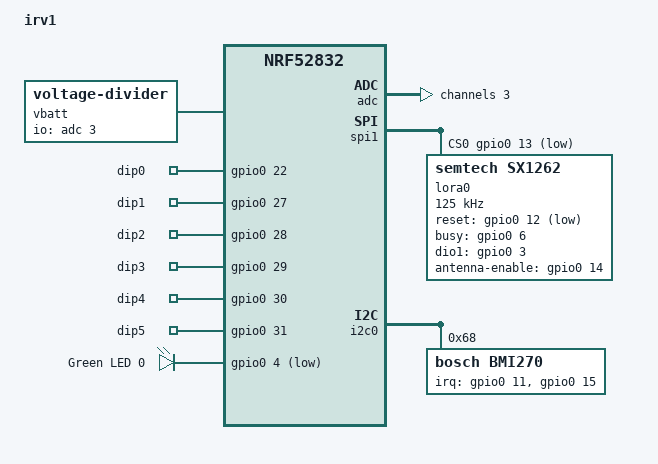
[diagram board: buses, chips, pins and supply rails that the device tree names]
// Copyright (c) 2023 Nordic Semiconductor ASA
// SPDX-License-Identifier: Apache-2.0

/dts-v1/;
#include <nordic/nrf52832_qfaa.dtsi>
#include "irv1-pinctrl.dtsi"

/ {
	model = "irv1";
	compatible = "sensorView,irv1";

	chosen {
		zephyr,sram = &sram0;
		zephyr,flash = &flash0;
		zephyr,code-partition = &slot0_partition;
	};
	vbatt {
		compatible = "voltage-divider";
		io-channels = <&adc 3>;
		output-ohms = <1000>;
		full-ohms = <(4700 + 1000)>;
		/* power-gpios = <&gpio0 4 0>; */
	 };

	 dips {
		compatible = "gpio-keys";
		dip0: dip_0 {
			gpios = <&gpio0 22 GPIO_ACTIVE_HIGH>;
		};
		dip1: dip_1 {
			gpios = <&gpio0 27 GPIO_ACTIVE_HIGH>;
		};
		dip2: dip_2 {
			gpios = <&gpio0 28 GPIO_ACTIVE_HIGH>;
		};
		dip3: dip_3 {
			gpios = <&gpio0 29 GPIO_ACTIVE_HIGH>;
		};
		dip4: dip_4 {
			gpios = <&gpio0 30 GPIO_ACTIVE_HIGH>;
		};
		dip5: dip_5 {
			gpios = <&gpio0 31 GPIO_ACTIVE_HIGH>;
		};
	 };
	 leds {
		compatible = "gpio-leds";
		led0: led_0 {
			gpios = <&gpio0 4 (GPIO_ACTIVE_LOW | GPIO_OPEN_DRAIN)>;
			label = "Green LED 0";
		};
	};
	/* pyd1598: pir0 {
        compatible = "excelitas,pyd1598";
		serial-in-gpios = <&gpio0 16 GPIO_ACTIVE_HIGH>;
        direct-link-gpios = <&gpio0 17 GPIO_ACTIVE_HIGH>;
        status = "okay";
    }; */
	
	/* These aliases are provided for compatibility with samples */
	aliases {
		led0 = &led0;

		dip0 = &dip0;
		dip1 = &dip1;
		dip2 = &dip2;
		dip3 = &dip3;
		dip4 = &dip4;
		dip5 = &dip5;
		
		/* pir0 = &pyd1598; */

		/* serin = &serin_gpio;
		dlink = &dlink_gpio; */
		bmi270-sensor = &bmi270;

		lora0 = &lora0;
		bootloader-led0 = &led0;
		mcuboot-led0 = &led0;
		watchdog0 = &wdt0;
	};
};
&adc {
	status = "okay";
	#address-cells = <1>;
	#size-cells = <0>;
	channel@3 {
		reg = <3>;
		zephyr,gain = "ADC_GAIN_1_6";
		zephyr,reference = "ADC_REF_INTERNAL";
		zephyr,acquisition-time = <ADC_ACQ_TIME_DEFAULT>;
		zephyr,input-positive = <NRF_SAADC_AIN3>; // P0.05
		zephyr,resolution = <12>;
	};
};

&gpiote {
	status = "okay";
};

&gpio0 {
	status = "okay";
};

&spi1 {
	status = "okay";
	compatible = "nordic,nrf-spim";
	 /* Cannot be used together with i2c0. spi0 */
	pinctrl-0 = <&spi1_default>;
	pinctrl-1 = <&spi1_sleep>;
	pinctrl-names = "default", "sleep";
	cs-gpios = < &gpio0 13 (GPIO_ACTIVE_LOW | GPIO_PUSH_PULL) >;  //check and change chip select pin
	//cs-gpios = < &gpio0 26 (GPIO_ACTIVE_LOW | GPIO_PULL_UP) > original test board pin 26
	anomaly-58-workaround;
	//wakeup-source;

	lora0: sx1262@0 {
		reg = <0>;
		compatible = "semtech,sx1262";
		status = "okay";
		spi-max-frequency = <DT_FREQ_K(125)>;

		reset-gpios = <&gpio0 12 (GPIO_ACTIVE_LOW | GPIO_PULL_UP )>;
		busy-gpios = < &gpio0 6 (GPIO_ACTIVE_HIGH | GPIO_PULL_DOWN ) >;
		dio1-gpios = < &gpio0 3 (GPIO_ACTIVE_HIGH | GPIO_PULL_DOWN ) >;
		//tx-enable-gpios = <&gpio0 17 GPIO_ACTIVE_LOW >;
		//rx-enable-gpios = <&gpio0 19 GPIO_ACTIVE_LOW >;

		//SW pin supplies RF switch power -> not required  for our rf switch
		antenna-enable-gpios = < &gpio0 14 GPIO_ACTIVE_HIGH >; 
		//enable the DIO2 pin on sx1262 -> we use tx and rx not dio2, could be used as an interrupt
		dio2-tx-enable;  
		
		/* //When using a TCXO, currently using a standard crystal
		dio3-tcxo-voltage = < 0x07 >; // SX126X_DIO3_TCXO_3V3 not available on Dorji
		tcxo-power-startup-delay-ms = <5>; */
		
	};
 };
&i2c0 {
    status = "okay";
	compatible = "nordic,nrf-twi";
	pinctrl-0 = <&i2c0_default>;
	pinctrl-1 = <&i2c0_sleep>;
	pinctrl-names = "default", "sleep";
	/* zephyr,concat-buf-size = < 255 >;
	zephyr,flash-buf-max-size = < 255 >;
	clock-frequency = <100000>; */
    bmi270: bmi270@68 {
		compatible = "bosch,bmi270";
        reg = <0x68>;
		irq-gpios = <&gpio0 11 (GPIO_ACTIVE_HIGH | GPIO_PULL_DOWN)>,
					<&gpio0 15 (GPIO_ACTIVE_HIGH | GPIO_PULL_DOWN)>;	
        friendly-name = "BMI270";
    };
};

&flash0 {
	partitions {
		compatible = "fixed-partitions";
		#address-cells = <1>;
		#size-cells = <1>;

		boot_partition: partition@0 {
			label = "mcuboot";
			reg = <0x00000000 0xc000>;
		};
		slot0_partition: partition@c000 {
			label = "image-0";
			reg = <0x0000C000 0x32000>;
		};
		slot1_partition: partition@3e000 {
			label = "image-1";
			reg = <0x0003E000 0x32000>;
		};
		scratch_partition: partition@70000 {
			label = "image-scratch";
			reg = <0x00070000 0xa000>;
		};
		storage_partition: partition@7a000 {
			label = "storage";
			reg = <0x0007a000 0x6000>;
		};
	};
};

